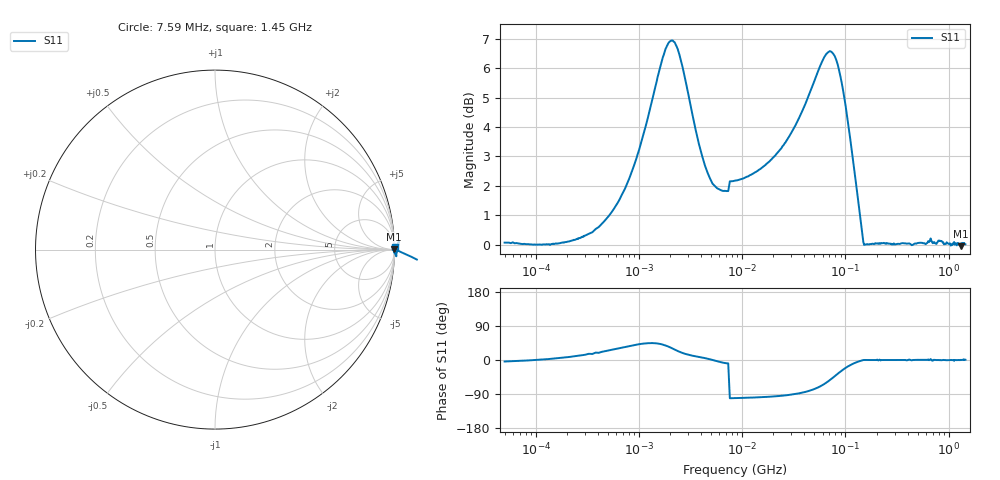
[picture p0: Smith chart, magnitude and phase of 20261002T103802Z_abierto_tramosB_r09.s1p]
! piloto_saltos / abierto_tramosB / r09
# HZ S RI R 50
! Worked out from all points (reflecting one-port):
!   501 points, 50 kHz to 1.45 GHz, reference 50 ohm
!   lowest |S11| = 0.0 dB at 1.323 GHz (marker M1), VSWR 382.65, Z = 1.79e+04 + j4.71e+03 ohm
!   phase of S11 starts at -4 deg and turns +5 deg over the sweep
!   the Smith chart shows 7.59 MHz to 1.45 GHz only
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50000  1.006 -0.0699
182500  1.003 0.1053
408000  1.014 0.3482
678000  1.024 0.6508
1164000  1.146 1.105
1623000  1.497 1.352
1947000  1.811 1.259
2379000  1.967 0.8607
2784000  1.845 0.5441
3000000  1.752 0.4357
4620000  1.323 0.0791
6780000  1.223 -0.1724
8130000  -0.2383 -1.26
8670000  -0.235 -1.265
1.866e7  -0.1645 -1.38
3.27e7  0.00709 -1.594
4.89e7  0.4018 -1.835
5.7e7  0.7054 -1.887
6.51e7  1.055 -1.825
7.32e7  1.376 -1.622
8.67e7  1.652 -1.089
9.75e7  1.633 -0.6958
1.137e8  1.437 -0.3104
1.326e8  1.187 -0.0888
1.542e8  1.001 0.00163
4.035e8  1.005 0.000864
1.3235e9  0.9948 0.00137
1.45e9  1.002 0.0128
